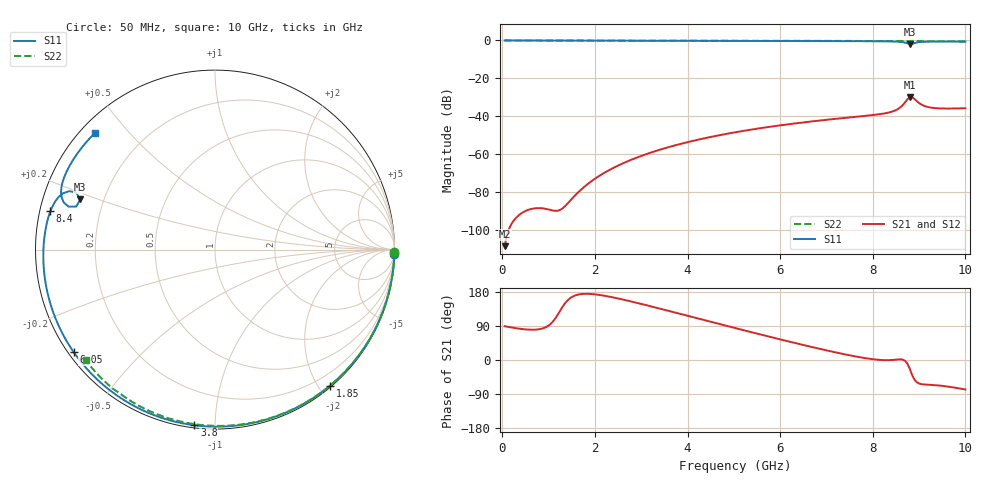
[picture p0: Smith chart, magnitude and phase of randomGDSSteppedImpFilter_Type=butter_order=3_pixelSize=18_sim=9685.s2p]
! freq	dB(S11)	phase(S11)	dB(S12)	phase(S12)
!  dB(S21)	phase(S21)	dB(S22)	phase(S22)
!S-par simulation data
#  GHz  S  DB  R 50
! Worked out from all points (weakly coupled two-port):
!   200 points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, 50 MHz to 10 GHz, reference 50 ohm
!   highest |S21| = -29.96 dB at 8.8 GHz (marker M1); lowest = -108.8 dB at 50 MHz (marker M2)
!   lowest |S11| = -1.9 dB at 8.8 GHz (marker M3), VSWR 9.04, Z = 5.71 + j8.89 ohm
!   |S11| at or under -10 dB: nowhere
!   |S22| runs from -0.5 to 0.0 dB; largest |S21 - S12| = 0
!   S11 on the Smith chart (normalised r, x): 50 MHz: 0, -82; 1.85 GHz: 0.02, -2.16; 3.8 GHz: 0.01, -0.89; 6.05 GHz: 0.02, -0.32; 8.4 GHz: 0.03, +0.11; 10 GHz: 0.04, +0.40
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0.05  -0.00 -1.4  -108.82 89.3  -108.82 89.3  -0.00 -0.8
0.8  -0.03 -21.9  -88.68 81.2  -88.68 81.2  -0.02 -12.8
1.65  -0.06 -44.6  -80.07 172.9  -80.07 172.9  -0.03 -26.3
1.75  -0.06 -47.2  -77.84 174.5  -77.84 174.5  -0.04 -27.8
1.85  -0.06 -49.7  -75.82 174.6  -75.82 174.6  -0.04 -29.4
2.15  -0.07 -57.4  -70.78 170.7  -70.78 170.7  -0.04 -34.1
2.5  -0.08 -66.1  -66.18 162.4  -66.18 162.4  -0.05 -39.4
3.4  -0.11 -87.6  -57.80 135.7  -57.80 135.7  -0.07 -53.0
3.8  -0.13 -96.7  -55.03 123.1  -55.03 123.1  -0.08 -58.8
5.05  -0.18 -123.7  -48.49 83.6  -48.49 83.6  -0.12 -76.5
6.05  -0.24 -144.1  -44.74 52.9  -44.74 52.9  -0.16 -90.1
6.7  -0.29 -157.2  -42.78 33.8  -42.78 33.8  -0.19 -98.6
7.55  -0.36 -174.4  -40.59 11.2  -40.59 11.2  -0.24 -109.4
8.35  -0.50 168.2  -38.10 -0.4  -38.10 -0.4  -0.31 -119.3
8.4  -0.52 166.9  -37.77 -0.1  -37.77 -0.1  -0.31 -119.9
8.6  -0.74 161.2  -35.28 1.7  -35.28 1.7  -0.34 -122.4
8.7  -1.15 158.2  -32.67 -2.3  -32.67 -2.3  -0.35 -123.6
8.8  -1.93 159.6  -29.96 -23.7  -29.96 -23.7  -0.35 -124.7
8.9  -1.42 163.7  -30.92 -51.8  -30.92 -51.8  -0.34 -126.0
9.05  -0.77 159.5  -33.91 -63.7  -33.91 -63.7  -0.36 -127.9
9.2  -0.63 155.2  -35.25 -65.2  -35.25 -65.2  -0.37 -129.7
10  -0.61 135.9  -35.84 -77.8  -35.84 -77.8  -0.47 -139.5
